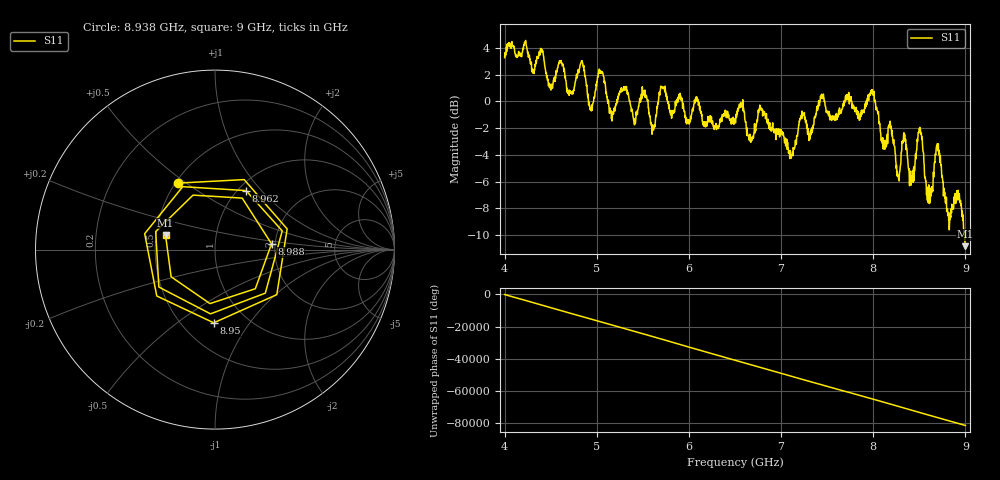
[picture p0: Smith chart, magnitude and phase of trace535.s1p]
! Created with skrf 1.8.0 (http://scikit-rf.org).
# Hz S RI R 50.0
!freq ReS11 ImS11
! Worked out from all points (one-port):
!   1601 points, 4 GHz to 9 GHz, reference 50 ohm
!   lowest |S11| = -10.8 dB at 9 GHz (marker M1), VSWR 1.81, Z = 28.1 + j4.95 ohm
!   |S11| at or under -10 dB: 8.988274 GHz to end of sweep
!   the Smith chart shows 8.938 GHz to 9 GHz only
!   S11 on the Smith chart (normalised r, x): 8.938 GHz: 0.51, +0.46; 8.95 GHz: 0.71, -0.69; 8.962 GHz: 1.09, +0.83; 8.988 GHz: 1.91, +0.14; 9 GHz: 0.56, +0.10
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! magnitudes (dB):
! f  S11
! 4 GHz  3.3
! 4.625 GHz  2.7
! 4.716 GHz  0.8
! 4.841 GHz  3.0
! 4.934 GHz  -0.5
! 5.041 GHz  2.3
! 5.159 GHz  -1.3
! 5.25 GHz  0.8
! 5.609 GHz  -2.1
! 5.703 GHz  1.0
! 5.875 GHz  0.1
! 6.5 GHz  -1.3
! 7.125 GHz  -3.8
! 7.434 GHz  0.2
! 7.75 GHz  0.0
! 7.988 GHz  0.8
! 8.269 GHz  -5.5
! 8.375 GHz  -4.4
! 8.416 GHz  -5.6
! 8.509 GHz  -2.0
! 8.603 GHz  -6.2
! 8.697 GHz  -3.2
! 8.816 GHz  -8.4
! 8.938 GHz  -7.4
! 8.95 GHz  -7.8
! 8.962 GHz  -8.6
! 8.988 GHz  -10.0
! 9 GHz  -10.8
